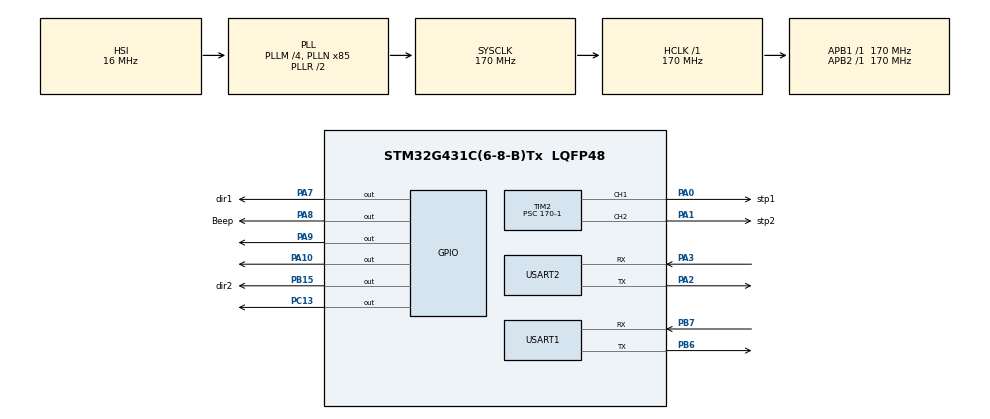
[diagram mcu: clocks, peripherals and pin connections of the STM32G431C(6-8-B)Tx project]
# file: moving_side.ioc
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Mcu.Family=STM32G4
Mcu.Name=STM32G431C(6-8-B)Tx
Mcu.Package=LQFP48
NVIC.PriorityGroup=NVIC_PRIORITYGROUP_4
NVIC.TIM2_IRQn=true\:0\:0\:false\:false\:true\:true\:true\:true
NVIC.TIM4_IRQn=true\:0\:0\:false\:false\:true\:true\:true\:true
NVIC.USART1_IRQn=true\:0\:0\:false\:false\:true\:true\:true\:true
NVIC.USART2_IRQn=true\:0\:0\:false\:false\:true\:true\:true\:true
PA0.GPIO_Label=stp1
PA0.Signal=S_TIM2_CH1
PA1.GPIO_Label=stp2
PA1.Signal=S_TIM2_CH2
PA10.Signal=GPIO_Output
PA13.Mode=Serial_Wire
PA13.Signal=SYS_JTMS-SWDIO
PA14.Mode=Serial_Wire
PA14.Signal=SYS_JTCK-SWCLK
PA2.Mode=Asynchronous
PA2.Signal=USART2_TX
PA3.Mode=Asynchronous
PA3.Signal=USART2_RX
PA7.GPIO_Label=dir1
PA7.Signal=GPIO_Output
PA8.GPIO_Label=Beep
PA8.Signal=GPIO_Output
PA9.Signal=GPIO_Output
PB15.GPIO_Label=dir2
PB15.Signal=GPIO_Output
PB6.Mode=Asynchronous
PB6.Signal=USART1_TX
PB7.Mode=Asynchronous
PB7.Signal=USART1_RX
PC13.Signal=GPIO_Output
PF0-OSC_IN.Mode=HSE-External-Oscillator
PF0-OSC_IN.Signal=RCC_OSC_IN
PF1-OSC_OUT.Mode=HSE-External-Oscillator
PF1-OSC_OUT.Signal=RCC_OSC_OUT
ProjectManager.HeapSize=0x200
ProjectManager.StackSize=0x400
ProjectManager.TargetToolchain=MDK-ARM V5.32
RCC.ADC12Freq_Value=170000000
RCC.AHBFreq_Value=170000000
RCC.APB1Freq_Value=170000000
RCC.APB1TimFreq_Value=170000000
RCC.APB2Freq_Value=170000000
RCC.APB2TimFreq_Value=170000000
RCC.CortexFreq_Value=170000000
RCC.EXTERNAL_CLOCK_VALUE=12288000
RCC.HCLKFreq_Value=170000000
RCC.HSE_VALUE=8000000
RCC.HSI48_VALUE=48000000
RCC.HSI_VALUE=16000000
RCC.LSE_VALUE=32768
RCC.PLLM=RCC_PLLM_DIV4
RCC.PLLN=85
RCC.SYSCLKFreq_VALUE=170000000
RCC.SYSCLKSource=RCC_SYSCLKSOURCE_PLLCLK
RCC.USBFreq_Value=170000000
RCC.VCOOutputFreq_Value=340000000
SH.S_TIM2_CH1.0=TIM2_CH1,Output Compare1 CH1
SH.S_TIM2_CH2.0=TIM2_CH2,Output Compare2 CH2
TIM2.Channel-Output\ Compare1\ CH1=TIM_CHANNEL_1
TIM2.Channel-Output\ Compare2\ CH2=TIM_CHANNEL_2
TIM2.OCMode_1=TIM_OCMODE_TOGGLE
TIM2.OCMode_2=TIM_OCMODE_TOGGLE
TIM2.PeriodNoDither=65535
TIM2.Prescaler=170-1
TIM4.PeriodNoDither=999
TIM4.Prescaler=1699
USART1.VirtualMode-Asynchronous=VM_ASYNC
USART2.VirtualMode-Asynchronous=VM_ASYNC
VP_SYS_VS_DBSignals.Mode=DisableDeadBatterySignals
VP_TIM4_VS_ClockSourceINT.Mode=Internal
board=custom

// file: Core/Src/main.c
/* USER CODE BEGIN Header */
/**
  ******************************************************************************
  * @file           : main.c
  * @brief          : Main program body
  ******************************************************************************
  * @attention
  *
  * Copyright (c) 2023 STMicroelectronics.
  * All rights reserved.
  *
  * This software is licensed under terms that can be found in the LICENSE file
  * in the root directory of this software component.
  * If no LICENSE file comes with this software, it is provided AS-IS.
  *
  ******************************************************************************
  */
/* USER CODE END Header */
#include "main.h"
#include "tim.h"
#include "usart.h"
#include "gpio.h"

/* USER CODE BEGIN Includes */
#include <stdio.h>
#include "stepper.h"
#include "macro.h"
#include "control.h"
#include "connect.h"
/* USER CODE END Includes */

void SystemClock_Config(void);
/* USER CODE BEGIN PFP */
int fputc(int ch, FILE *f)
{
	HAL_UART_Transmit(&huart1,(uint8_t*)&ch,1,10);
	return ch;
}
/* USER CODE END PFP */

int main(void)
{

  /* MCU Configuration--------------------------------------------------------*/

  /* Reset of all peripherals, Initializes the Flash interface and the Systick. */
  HAL_Init();

  /* Configure the system clock */
  SystemClock_Config();

  /* Initialize all configured peripherals */
  MX_GPIO_Init();
  MX_TIM2_Init();
  MX_TIM4_Init();
  MX_USART1_UART_Init();
  MX_USART2_UART_Init();
  /* USER CODE BEGIN 2 */
	HAL_TIM_Base_Start_IT(&htim4);
	HAL_TIM_OC_Start_IT(&htim4,TIM_CHANNEL_1);
	HAL_TIM_OC_Start_IT(&htim4,TIM_CHANNEL_2);
	HAL_UART_Receive_IT(&huart1,&(uart_ins1.Rxbuf),1);
	HAL_UART_Receive_IT(&huart2,&(uart_ins2.Rxbuf),1);

	Init_Stepper(&stepper1,dir1_GPIO_Port,dir1_Pin,&htim2,TIM_CHANNEL_1,0.05625f);
	Init_Stepper(&stepper2,dir2_GPIO_Port,dir2_Pin,&htim2,TIM_CHANNEL_2,0.05625f/2);

	laser_init(&laser_ins,0,0);

	float kp_stp1=0.1,ki_stp1=0.00,kd_stp1=0;
	float kp_stp2=0.1,ki_stp2=0.00,kd_stp2=0;
	Laser_On;
	pid_init(&pid_stp1,kp_stp1,ki_stp1,kd_stp1);
	pid_init(&pid_stp2,kp_stp2,ki_stp2,kd_stp2);
	pid_stop();

	HAL_Delay(3000);

//	move_derectly(mission2_point_list[0],mission2_point_list[1],500);
//	drawline(0,0,500,500,30);
//	StpDistanceSetBlocking(&stepper2,3,1000,100);
//	HAL_Delay(3000);
//	StpDistanceSetBlocking(&stepper2,-10,1000,500);
//	drawline(0,0,0,200,500);
//	HAL_Delay(3000);
//	drawline(200,0,200,200);
//	HAL_Delay(1000);
//	drawline(-200,200,-200,0);
//	HAL_Delay(1000);
//	drawline(-200,0,0,0);
  /* USER CODE END 2 */
//	laser_set_target(&laser_ins,cv_ins.rectangular_axis[0],cv_ins.rectangular_axis[1]);
//	laser_set_target(&laser_ins,320,240);
	//pid_start(1);
  /* Infinite loop */
  /* USER CODE BEGIN WHILE */
	mission3();
  while (1)
  {
    /* USER CODE END WHILE */
//		HAL_UART_Transmit(&huart1,(uint8_t*)"b",1,10);
//		mission2();

//		HAL_Delay(1000);
//		motor_reset2origin();
//		HAL_Delay(1000);
//		break;
	//	cal_axis();

  }
}

void SystemClock_Config(void)
{
  RCC_OscInitTypeDef RCC_OscInitStruct = {0};
  RCC_ClkInitTypeDef RCC_ClkInitStruct = {0};

  /** Configure the main internal regulator output voltage
  */
  HAL_PWREx_ControlVoltageScaling(PWR_REGULATOR_VOLTAGE_SCALE1_BOOST);

  /** Initializes the RCC Oscillators according to the specified parameters
  * in the RCC_OscInitTypeDef structure.
  */
  RCC_OscInitStruct.OscillatorType = RCC_OSCILLATORTYPE_HSI;
  RCC_OscInitStruct.HSIState = RCC_HSI_ON;
  RCC_OscInitStruct.HSICalibrationValue = RCC_HSICALIBRATION_DEFAULT;
  RCC_OscInitStruct.PLL.PLLState = RCC_PLL_ON;
  RCC_OscInitStruct.PLL.PLLSource = RCC_PLLSOURCE_HSI;
  RCC_OscInitStruct.PLL.PLLM = RCC_PLLM_DIV4;
  RCC_OscInitStruct.PLL.PLLN = 85;
  RCC_OscInitStruct.PLL.PLLP = RCC_PLLP_DIV2;
  RCC_OscInitStruct.PLL.PLLQ = RCC_PLLQ_DIV2;
  RCC_OscInitStruct.PLL.PLLR = RCC_PLLR_DIV2;
  if (HAL_RCC_OscConfig(&RCC_OscInitStruct) != HAL_OK)
  {
    Error_Handler();
  }

  /** Initializes the CPU, AHB and APB buses clocks
  */
  RCC_ClkInitStruct.ClockType = RCC_CLOCKTYPE_HCLK|RCC_CLOCKTYPE_SYSCLK
                              |RCC_CLOCKTYPE_PCLK1|RCC_CLOCKTYPE_PCLK2;
  RCC_ClkInitStruct.SYSCLKSource = RCC_SYSCLKSOURCE_PLLCLK;
  RCC_ClkInitStruct.AHBCLKDivider = RCC_SYSCLK_DIV1;
  RCC_ClkInitStruct.APB1CLKDivider = RCC_HCLK_DIV1;
  RCC_ClkInitStruct.APB2CLKDivider = RCC_HCLK_DIV1;

  if (HAL_RCC_ClockConfig(&RCC_ClkInitStruct, FLASH_LATENCY_4) != HAL_OK)
  {
    Error_Handler();
  }
}

/* USER CODE BEGIN 4 */
void HAL_TIM_PeriodElapsedCallback(TIM_HandleTypeDef *htim){
	if(htim->Instance==TIM4){
		if(PID_F==PID_START){
//			pid_incremental(&pid_stp2,laser_ins.x_target-laser_ins.x_cur,3,-3);
//			pid_incremental(&pid_stp1,laser_ins.y_target-laser_ins.y_cur,3,-3);
//			if(!IFMOVING(stepper1.motor_state))
//				StpDistanceSetBlocking(&stepper1,-pid_stp1.output,200,500);
//			if(!IFMOVING(stepper2.motor_state))
//				StpDistanceSetBlocking(&stepper2,-pid_stp2.output,200,500);
			pid_position(&pid_stp2,laser_ins.x_target-laser_ins.x_cur,10,-10,3000);
			pid_position(&pid_stp1,laser_ins.y_target-laser_ins.y_cur,15,-15,3000);
		//	if(!IFMOVING(stepper1.motor_state))
		//		StpDistanceSetBlocking(&stepper1,stepper1.position_ctnow*stepper1.stepangle-pid_stp1.output,200,500);
			if(!IFMOVING(stepper2.motor_state))
				StpDistanceSetBlocking(&stepper2,-stepper2.position_ctnow*stepper2.stepangle+pid_stp2.output,200,500);
		}
	}

}
/* USER CODE END 4 */

void Error_Handler(void)
{
  __disable_irq();
  while (1)
  {
  }
}
